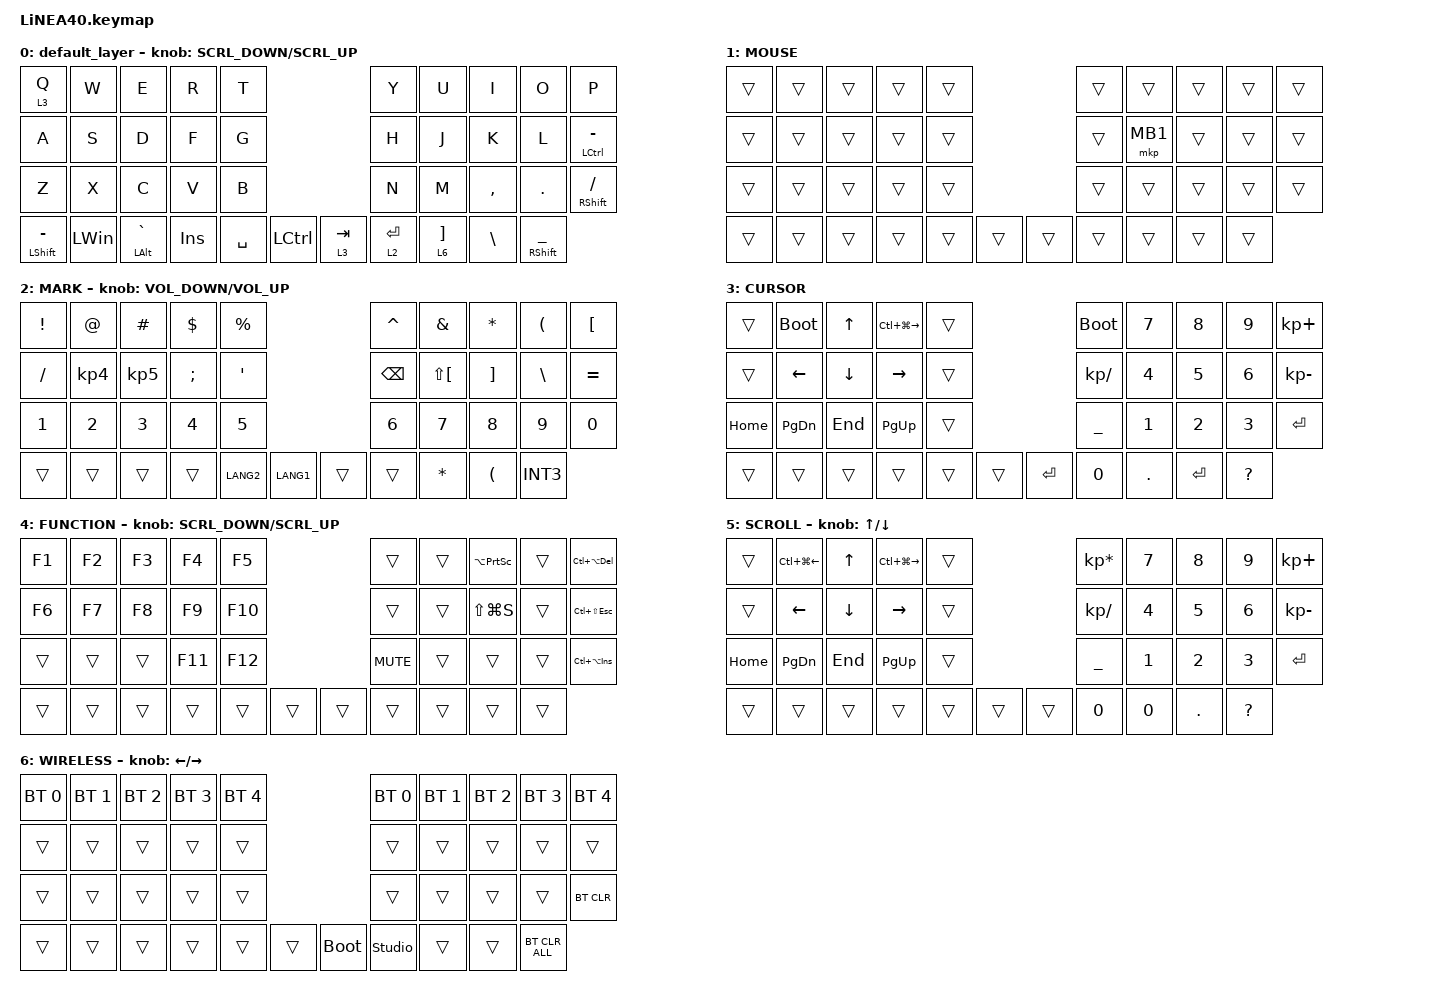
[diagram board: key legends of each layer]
#define ZMK_POINTING_DEFAULT_SCRL_VAL 150

#include <dt-bindings/zmk/input_transform.h>
#include <input/processors.dtsi>
#include <zephyr/dt-bindings/input/input-event-codes.h>
#include <behaviors.dtsi>
#include <dt-bindings/zmk/bt.h>
#include <dt-bindings/zmk/keys.h>
#include <dt-bindings/zmk/pointing.h>

#define MOUSE 1
#define MARK 2
#define CURSOR 3
#define FUNCTION 4
#define SCROLL 5
#define WIRELESS 6

//&studio_unlock
//mouse cursol

&mmv {
    delay-ms = <20>;
    trigger-period-ms = <5>;
    time-to-max-speed-ms = <100>;
    acceleration-exponent = <2>;
};

//mouse scroll

&msc {
    delay-ms = <3>;
    trigger-period-ms = <3>;
    time-to-max-speed-ms = <100>;
    acceleration-exponent = <0>;
};

/ {
    input_processors {
        zip_wheel_scaler: zip_wheel_scaler {
            compatible = "zmk,input-processor-scaler";
            #input-processor-cells = <2>;
            type = <INPUT_EV_REL>;
            codes = <INPUT_REL_WHEEL>;
            track-remainders;
        };
    };
};

&msc_input_listener {
    speed_up {
        layers = <FUNCTION>;
        input-processors = <&zip_wheel_scaler 3 1>; //スクロールを3倍速にする
    };
};

&trackball_listener {
    scroller {
        layers = <SCROLL>;
        input-processors =
            <&zip_xy_transform INPUT_TRANSFORM_Y_INVERT>,
            //スクロール方向を逆転,,,,,,,,,,,,,,,,,,,,
            <&zip_xy_to_scroll_mapper>;
    };
};

/ {
    combos {
        compatible = "zmk,combos";

        backspace {
            bindings = <&kp BACKSPACE>;
            key-positions = <6 7>;
        };

        delete {
            bindings = <&kp DELETE>;
            key-positions = <7 8>;
        };

        click {
            bindings = <&mkp MB1>;
            key-positions = <16 17>;
        };

        rclick {
            bindings = <&mkp RCLK>;
            key-positions = <17 18>;
        };

        prevclick {
            bindings = <&mkp MB4>;
            key-positions = <26 27>;
        };

        nextclick {
            bindings = <&mkp MB5>;
            key-positions = <27 28>;
        };

        pageup {
            bindings = <&kp PG_UP>;
            key-positions = <9 19>;
        };

        pagedown {
            bindings = <&kp PAGE_DOWN>;
            key-positions = <29 19>;
        };

        ctrl+w {
            bindings = <&kp RC(W)>;
            key-positions = <19 7>;
        };

        ctrl+r {
            bindings = <&kp RC(R)>;
            key-positions = <19 6>;
        };

        ctrl+t {
            bindings = <&kp RC(T)>;
            key-positions = <19 5>;
        };

        F2combo {
            bindings = <&kp F2>;
            key-positions = <1 2>;
        };
    };

    behaviors {
        re_kp: sensor_rotate_kp {
            compatible = "zmk,behavior-sensor-rotate-var";
            #sensor-binding-cells = <2>;
            bindings = <&kp>, <&kp>;
        };

        mouse_scrl: mouse_wheel_scrl {
            compatible = "zmk,behavior-sensor-rotate-var";
            #sensor-binding-cells = <2>;
            bindings = <&msc>, <&msc>;

            tap-ms = <20>;
        };
    };

    keymap {
        compatible = "zmk,keymap";

        default_layer {
            bindings = <
&lt 3 Q               &kp W         &kp E               &kp R    &kp T                                     &kp Y        &kp U  &kp I                &kp O          &kp P
&kp A                 &kp S         &kp D               &kp F    &kp G                                     &kp H        &kp J  &kp K                &kp L          &mt LCTRL MINUS
&kp Z                 &kp X         &kp C               &kp V    &kp B                                     &kp N        &kp M  &kp COMMA            &kp DOT        &mt RIGHT_SHIFT SLASH
&mt LEFT_SHIFT MINUS  &kp LEFT_WIN  &mt LEFT_ALT GRAVE  &kp INS  &kp SPACE  &kp LEFT_CONTROL    &lt 3 TAB  &lt 2 ENTER         &lt 6 RIGHT_BRACKET  &kp BACKSLASH  &mt RIGHT_SHIFT UNDERSCORE
            >;

            sensor-bindings = <&mouse_scrl SCRL_DOWN SCRL_UP>;
        };

        //1

        MOUSE {
            bindings = <
&trans  &trans  &trans  &trans  &trans                    &trans  &trans    &trans  &trans  &trans
&trans  &trans  &trans  &trans  &trans                    &trans  &mkp MB1  &trans  &trans  &trans
&trans  &trans  &trans  &trans  &trans                    &trans  &trans    &trans  &trans  &trans
&trans  &trans  &trans  &trans  &trans  &trans    &trans  &trans            &trans  &trans  &trans
            >;
        };

        //2

        MARK {
            bindings = <
&kp EXCLAMATION  &kp AT           &kp HASH         &kp DOLLAR     &kp PERCENT                            &kp CARET      &kp AMPERSAND  &kp ASTERISK       &kp LEFT_PARENTHESIS  &kp LBKT
&kp SLASH        &kp KP_NUMBER_4  &kp KP_NUMBER_5  &kp SEMICOLON  &kp SINGLE_QUOTE                       &kp BACKSPACE  &kp LS(LBKT)   &kp RIGHT_BRACKET  &kp BACKSLASH         &kp EQUAL
&kp N1           &kp N2           &kp N3           &kp N4         &kp N5                                 &kp N6         &kp N7         &kp N8             &kp N9                &kp N0
&trans           &trans           &trans           &trans         &kp LANG2         &kp LANG1    &trans  &trans                        &kp ASTERISK       &kp LEFT_PARENTHESIS  &kp INT3
            >;

            sensor-bindings = <&re_kp C_VOLUME_DOWN C_VOLUME_UP>;
        };

        //3

        CURSOR {
            bindings = <
&trans    &bootloader     &kp UP_ARROW  &kp LC(LG(RIGHT_ARROW))  &trans                       &bootloader   &kp NUMBER_7  &kp NUMBER_8  &kp NUMBER_9  &kp KP_PLUS
&trans    &kp LEFT_ARROW  &kp DOWN      &kp RIGHT_ARROW          &trans                       &kp KP_SLASH  &kp NUMBER_4  &kp NUMBER_5  &kp NUMBER_6  &kp KP_MINUS
&kp HOME  &kp PAGE_DOWN   &kp END       &kp PAGE_UP              &trans                       &kp UNDER     &kp NUMBER_1  &kp NUMBER_2  &kp NUMBER_3  &kp ENTER
&trans    &trans          &trans        &trans                   &trans  &trans    &kp ENTER  &kp NUMBER_0                &kp DOT       &kp ENTER     &kp QUESTION
            >;
        };

        //4

        FUNCTION {
            bindings = <
&kp F1  &kp F2  &kp F3  &kp F4   &kp F5                     &trans      &trans  &kp LA(PRINTSCREEN)  &trans  &kp LC(LA(DELETE))
&kp F6  &kp F7  &kp F8  &kp F9   &kp F10                    &trans      &trans  &kp LS(LG(S))        &trans  &kp LC(LS(ESCAPE))
&trans  &trans  &trans  &kp F11  &kp F12                    &kp C_MUTE  &trans  &trans               &trans  &kp LC(LA(INS))
&trans  &trans  &trans  &trans   &trans   &trans    &trans  &trans              &trans               &trans  &trans
            >;

            sensor-bindings = <&mouse_scrl SCRL_DOWN SCRL_UP>;
        };

        //5

        SCROLL {
            bindings = <
&trans    &kp LC(LG(LEFT_ARROW))  &kp UP_ARROW  &kp LC(LG(RIGHT_ARROW))  &trans                    &kp KP_MULTIPLY  &kp NUMBER_7  &kp NUMBER_8  &kp NUMBER_9  &kp KP_PLUS
&trans    &kp LEFT_ARROW          &kp DOWN      &kp RIGHT_ARROW          &trans                    &kp KP_SLASH     &kp NUMBER_4  &kp NUMBER_5  &kp NUMBER_6  &kp KP_MINUS
&kp HOME  &kp PAGE_DOWN           &kp END       &kp PAGE_UP              &trans                    &kp UNDER        &kp NUMBER_1  &kp NUMBER_2  &kp NUMBER_3  &kp ENTER
&trans    &trans                  &trans        &trans                   &trans  &trans    &trans  &kp NUMBER_0                   &kp NUMBER_0  &kp DOT       &kp QUESTION
            >;

            sensor-bindings = <&inc_dec_kp UP_ARROW DOWN_ARROW>;
        };

        //6

        WIRELESS {
            bindings = <
&bt BT_SEL 0  &bt BT_SEL 1  &bt BT_SEL 2  &bt BT_SEL 3  &bt BT_SEL 4                         &bt BT_SEL 0    &bt BT_SEL 1  &bt BT_SEL 2  &bt BT_SEL 3  &bt BT_SEL 4
&trans        &trans        &trans        &trans        &trans                               &trans          &trans        &trans        &trans        &trans
&trans        &trans        &trans        &trans        &trans                               &trans          &trans        &trans        &trans        &bt BT_CLR
&trans        &trans        &trans        &trans        &trans        &trans    &bootloader  &studio_unlock                &trans        &trans        &bt BT_CLR_ALL
            >;

            sensor-bindings = <&inc_dec_kp LEFT_ARROW RIGHT_ARROW>;
        };
    };
};
